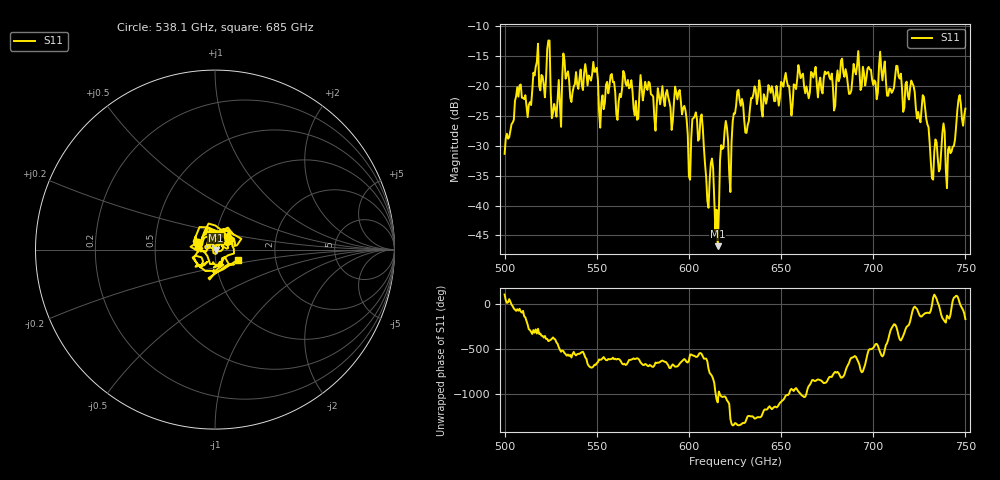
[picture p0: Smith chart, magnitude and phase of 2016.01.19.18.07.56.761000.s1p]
!Created with skrf (http://scikit-rf.org).
# GHz S RI R 50.0
!freq ReS11 ImS11
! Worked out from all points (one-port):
!   401 points, 500 GHz to 750 GHz, reference 50 ohm
!   lowest |S11| = -46.8 dB at 615.6 GHz (marker M1), VSWR 1.01, Z = 50.4 - j0.144 ohm
!   |S11| at or under -10 dB: start of sweep to end of sweep
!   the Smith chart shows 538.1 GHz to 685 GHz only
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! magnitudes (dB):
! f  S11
! 500 GHz  -31.4
! 507.5 GHz  -21.8
! 513.1 GHz  -23.2
! 516.9 GHz  -16.8
! 523.8 GHz  -12.4
! 526.9 GHz  -23.0
! 531.2 GHz  -18.7
! 548.8 GHz  -17.6
! 552.5 GHz  -22.8
! 558.1 GHz  -18.0
! 562.5 GHz  -21.3
! 593.8 GHz  -22.2
! 600 GHz  -35.2
! 603.1 GHz  -25.1
! 606.9 GHz  -24.8
! 610 GHz  -39.2
! 612.5 GHz  -32.1
! 615.6 GHz  -46.8
! 618.8 GHz  -30.3
! 622.5 GHz  -37.8
! 625 GHz  -24.6
! 656.2 GHz  -23.2
! 660.6 GHz  -18.7
! 687.5 GHz  -21.3
! 718.8 GHz  -21.6
! 728.1 GHz  -23.7
! 731.9 GHz  -35.5
! 750 GHz  -23.8
